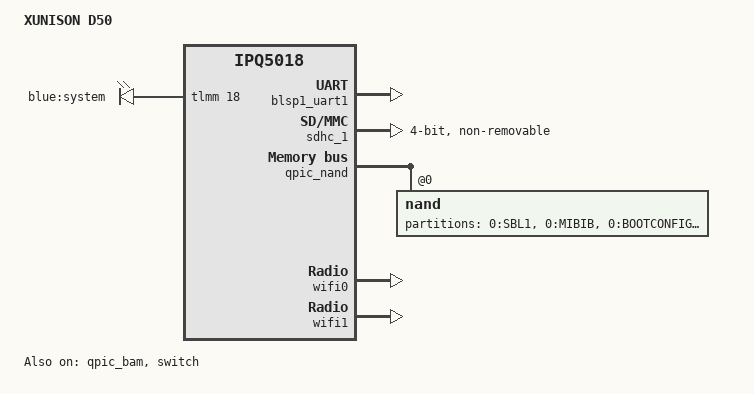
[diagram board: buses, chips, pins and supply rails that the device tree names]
// SPDX-License-Identifier: GPL-2.0-only
/dts-v1/;

#include "ipq5018.dtsi"
#include "ipq50xx-memory.dtsi"
#include "ipq50xx-ess.dtsi"

/ {
	model = "XUNISON D50";
	compatible = "xunison,d50", "qcom,ipq5018";

	aliases {
		serial0 = &blsp1_uart1;
		led-boot = &led_system;
		led-failsafe = &led_system;
		led-running = &led_system;
		led-upgrade = &led_system;
	};

	chosen {
		bootargs = "console=ttyMSM0,115200n8 root=/dev/ubiblock0_1";
	};

	leds {
		compatible = "gpio-leds";

		led_system: system {
			label = "blue:system";
			gpios = <&tlmm 18 GPIO_ACTIVE_HIGH>;
			default-state = "on";
		};
	};
};

&blsp1_uart1 {
	status = "okay";
};

&sdhc_1 {
	status = "okay";
	max-frequency = <192000000>;
	bus-width = <4>;
	non-removable;
};

&qpic_bam {
	status = "okay";
};

&qpic_nand {
	status = "okay";

	nand@0 {
		reg = <0>;
		nand-ecc-strength = <4>;
		nand-ecc-step-size = <512>;
		nand-bus-width = <8>;

		partitions {
			compatible = "fixed-partitions";
			#address-cells = <1>;
			#size-cells = <1>;

			partition@0 {
				label = "0:SBL1";
				reg = <0x0 0x80000>;
				read-only;
			};

			partition@80000 {
				label = "0:MIBIB";
				reg = <0x80000 0x80000>;
				read-only;
			};

			partition@100000 {
				label = "0:BOOTCONFIG";
				reg = <0x100000 0x40000>;
				read-only;
			};

			partition@140000 {
				label = "0:QSEE";
				reg = <0x140000 0x100000>;
				read-only;
			};

			partition@240000 {
				label = "0:DEVCFG";
				reg = <0x240000 0x40000>;
				read-only;
			};

			partition@280000 {
				label = "0:CDT";
				reg = <0x280000 0x40000>;
				read-only;
			};

			partition@2c0000 {
				label = "0:APPSBLENV";
				reg = <0x2c0000 0x80000>;
			};

			partition@340000 {
				label = "0:APPSBL";
				reg = <0x340000 0x140000>;
				read-only;
			};

			partition@480000 {
				label = "0:ART";
				reg = <0x480000 0x100000>;
				read-only;
			};

			partition@580000 {
				label = "rootfs";
				reg = <0x580000 0x3a00000>;
			};

			partition@3f80000 {
				label = "rootfs_1";
				reg = <0x3f80000 0x3a00000>;
			};
		};
	};
};

&wifi0 {
	status = "okay";
	qcom,ath11k-calibration-variant = "XUNISON-D50";
};

&wifi1 {
	status = "okay";
	qcom,ath11k-calibration-variant = "XUNISON-D50";
};

&switch {
	status = "okay";

	ports {
		port@0 {
			reg = <0>;
			label = "lan1";
		};

		port@1 {
			reg = <1>;
			label = "lan2";
		};

		port@2 {
			reg = <2>;
			label = "lan3";
		};

		port@3 {
			reg = <3>;
			label = "lan4";
		};

		port@4 {
			reg = <4>;
			label = "wan";
		};
	};
};
